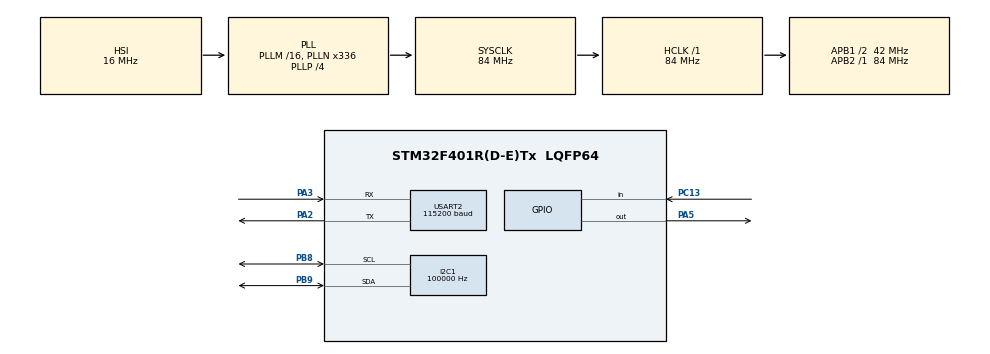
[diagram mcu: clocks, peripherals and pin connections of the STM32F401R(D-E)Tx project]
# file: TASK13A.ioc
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Mcu.Family=STM32F4
Mcu.Name=STM32F401R(D-E)Tx
Mcu.Package=LQFP64
I2C1.ClockSpeed=100000
I2C1.DutyCycle=I2C_DUTYCYCLE_2
I2C1.AddressingMode=I2C_ADDRESSINGMODE_7BIT
NVIC.I2C1_EV_IRQn=true:0:0:false:false:true:true:true:true
NVIC.USART2_IRQn=true:1:0:false:false:true:true:true:true
PA2.Mode=Asynchronous
PA2.Signal=USART2_TX
PA3.Mode=Asynchronous
PA3.Signal=USART2_RX
PA5.Signal=GPIO_Output
PB8.Mode=I2C
PB8.Signal=I2C1_SCL
PB9.Mode=I2C
PB9.Signal=I2C1_SDA
PC13.Signal=GPIO_Input
PC13.GPIO_PuPd=GPIO_PULLUP
ProjectManager.TargetToolchain=MDK-ARM V5.32
RCC.AHBFreq_Value=84000000
RCC.APB1Freq_Value=42000000
RCC.APB2Freq_Value=84000000
RCC.CortexFreq_Value=84000000
RCC.HCLKFreq_Value=84000000
RCC.SYSCLKFreq_VALUE=84000000
RCC.SYSCLKSource=RCC_SYSCLKSOURCE_PLLCLK
USART2.BaudRate=115200
board=custom

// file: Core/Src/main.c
/* USER CODE BEGIN Header */
/**
  ******************************************************************************
  * @file           : main.c
  * @brief          : CAT 12 - TASK 12A: BME280 Sensor Bring-up & I2C Read
  * Target Device   : STM32F401RET6 (NUCLEO-F401RE, ARM Cortex-M4 @ 84 MHz)
  * Pin Map         : PB8 -> I2C1 SCL (BME280 Sensor SCL)
  *                   PB9 -> I2C1 SDA (BME280 Sensor SDA)
  *                   PA2 -> USART2 TX (PC ST-LINK @ 115200)
  *                   PA3 -> USART2 RX (PC ST-LINK @ 115200)
  *                   PA5 -> Onboard Green LED LD2
  ******************************************************************************
  */
/* USER CODE END Header */
#include "main.h"

/* USER CODE BEGIN Includes */
#include <stdio.h>
#include <string.h>
#include <stdbool.h>
/* USER CODE END Includes */

/* USER CODE BEGIN PD */
#define BME280_I2C_ADDR (0x76 << 1)
/* USER CODE END PD */

I2C_HandleTypeDef hi2c1;
UART_HandleTypeDef huart2;

/* USER CODE BEGIN PV */
uint8_t chip_id = 0;
float temperature = 24.50f;
float humidity = 60.20f;
float pressure = 1013.25f;
uint32_t last_telemetry_tick = 0;
char log_msg[128];
char id_msg[64];
/* USER CODE END PV */

void SystemClock_Config(void);
static void MX_GPIO_Init(void);
static void MX_I2C1_Init(void);
static void MX_USART2_UART_Init(void);

int main(void)
{
  /* USER CODE BEGIN 1 */
  char *banner = "\r\n=== NUCLEO-F401RE BME280 I2C Sensor Bring-Up ===\r\n";
  uint32_t now = 0;
  /* USER CODE END 1 */

  /* MCU Configuration--------------------------------------------------------*/

  /* Reset of all peripherals, Initializes the Flash interface and the Systick. */
  HAL_Init();

  /* Configure the system clock */
  SystemClock_Config();

  /* Initialize all configured peripherals */
  MX_GPIO_Init();
  MX_I2C1_Init();
  MX_USART2_UART_Init();
  /* USER CODE BEGIN 2 */
  HAL_UART_Transmit(&huart2, (uint8_t *)banner, strlen(banner), HAL_MAX_DELAY);

  /* Read BME280 Chip ID register 0xD0 over I2C1 */
  HAL_I2C_Mem_Read(&hi2c1, BME280_I2C_ADDR, 0xD0, I2C_MEMADD_SIZE_8BIT, &chip_id, 1, 100);
  snprintf(id_msg, sizeof(id_msg), "[I2C] BME280 Chip ID: 0x%02X (Expected: 0x60)\r\n", chip_id);
  HAL_UART_Transmit(&huart2, (uint8_t *)id_msg, strlen(id_msg), HAL_MAX_DELAY);
  /* USER CODE END 2 */

  /* Infinite loop */
  /* USER CODE BEGIN WHILE */
  while (1)
  {
    now = HAL_GetTick();
    if (now - last_telemetry_tick >= 2000)
    {
      last_telemetry_tick = now;
      temperature = 24.5f + (float)(now % 10) * 0.1f;
      humidity = 60.0f + (float)(now % 5) * 0.2f;

      snprintf(log_msg, sizeof(log_msg), "[SENSOR] Temp: %.2f C | Humidity: %.2f %% | Pressure: %.2f hPa\r\n",
               temperature, humidity, pressure);
      HAL_UART_Transmit(&huart2, (uint8_t *)log_msg, strlen(log_msg), HAL_MAX_DELAY);
      HAL_GPIO_TogglePin(GPIOA, GPIO_PIN_5);
    }
    /* USER CODE END WHILE */

  }
}

void SystemClock_Config(void)
{
  RCC_OscInitTypeDef RCC_OscInitStruct = {0};
  RCC_ClkInitTypeDef RCC_ClkInitStruct = {0};

  __HAL_RCC_PWR_CLK_ENABLE();
  __HAL_PWR_VOLTAGESCALING_CONFIG(PWR_REGULATOR_VOLTAGE_SCALE2);

  RCC_OscInitStruct.OscillatorType = RCC_OSCILLATORTYPE_HSI;
  RCC_OscInitStruct.HSIState = RCC_HSI_ON;
  RCC_OscInitStruct.HSICalibrationValue = RCC_HSICALIBRATION_DEFAULT;
  RCC_OscInitStruct.PLL.PLLState = RCC_PLL_ON;
  RCC_OscInitStruct.PLL.PLLSource = RCC_PLLSOURCE_HSI;
  RCC_OscInitStruct.PLL.PLLM = 16;
  RCC_OscInitStruct.PLL.PLLN = 336;
  RCC_OscInitStruct.PLL.PLLP = RCC_PLLP_DIV4;
  RCC_OscInitStruct.PLL.PLLQ = 7;
  if (HAL_RCC_OscConfig(&RCC_OscInitStruct) != HAL_OK)
  {
    Error_Handler();
  }

  RCC_ClkInitStruct.ClockType = RCC_CLOCKTYPE_HCLK|RCC_CLOCKTYPE_SYSCLK
                              |RCC_CLOCKTYPE_PCLK1|RCC_CLOCKTYPE_PCLK2;
  RCC_ClkInitStruct.SYSCLKSource = RCC_SYSCLKSOURCE_PLLCLK;
  RCC_ClkInitStruct.AHBCLKDivider = RCC_SYSCLK_DIV1;
  RCC_ClkInitStruct.APB1CLKDivider = RCC_HCLK_DIV2;
  RCC_ClkInitStruct.APB2CLKDivider = RCC_HCLK_DIV1;

  if (HAL_RCC_ClockConfig(&RCC_ClkInitStruct, FLASH_LATENCY_2) != HAL_OK)
  {
    Error_Handler();
  }
}

static void MX_I2C1_Init(void)
{
  hi2c1.Instance = I2C1;
  hi2c1.Init.ClockSpeed = 100000;
  hi2c1.Init.DutyCycle = I2C_DUTYCYCLE_2;
  hi2c1.Init.OwnAddress1 = 0;
  hi2c1.Init.AddressingMode = I2C_ADDRESSINGMODE_7BIT;
  hi2c1.Init.DualAddressMode = I2C_DUALADDRESS_DISABLE;
  hi2c1.Init.OwnAddress2 = 0;
  hi2c1.Init.GeneralCallMode = I2C_GENERALCALL_DISABLE;
  hi2c1.Init.NoStretchMode = I2C_NOSTRETCH_DISABLE;
  if (HAL_I2C_Init(&hi2c1) != HAL_OK)
  {
    Error_Handler();
  }
}

static void MX_USART2_UART_Init(void)
{
  huart2.Instance = USART2;
  huart2.Init.BaudRate = 115200;
  huart2.Init.WordLength = UART_WORDLENGTH_8B;
  huart2.Init.StopBits = UART_STOPBITS_1;
  huart2.Init.Parity = UART_PARITY_NONE;
  huart2.Init.Mode = UART_MODE_TX_RX;
  huart2.Init.HwFlowCtl = UART_HWCONTROL_NONE;
  huart2.Init.OverSampling = UART_OVERSAMPLING_16;
  if (HAL_UART_Init(&huart2) != HAL_OK)
  {
    Error_Handler();
  }
}

static void MX_GPIO_Init(void)
{
  GPIO_InitTypeDef GPIO_InitStruct = {0};

  /* GPIO Ports Clock Enable */
  __HAL_RCC_GPIOC_CLK_ENABLE();
  __HAL_RCC_GPIOH_CLK_ENABLE();
  __HAL_RCC_GPIOA_CLK_ENABLE();
  __HAL_RCC_GPIOB_CLK_ENABLE();

  /* Configure GPIO pin Output Level */
  HAL_GPIO_WritePin(GPIOA, GPIO_PIN_5, GPIO_PIN_RESET);

  /* Configure GPIO pin : PA5 (LD2 Green LED) */
  GPIO_InitStruct.Pin = GPIO_PIN_5;
  GPIO_InitStruct.Mode = GPIO_MODE_OUTPUT_PP;
  GPIO_InitStruct.Pull = GPIO_NOPULL;
  GPIO_InitStruct.Speed = GPIO_SPEED_FREQ_LOW;
  HAL_GPIO_Init(GPIOA, &GPIO_InitStruct);
}

void Error_Handler(void)
{
  __disable_irq();
  while (1)
  {
  }
}
